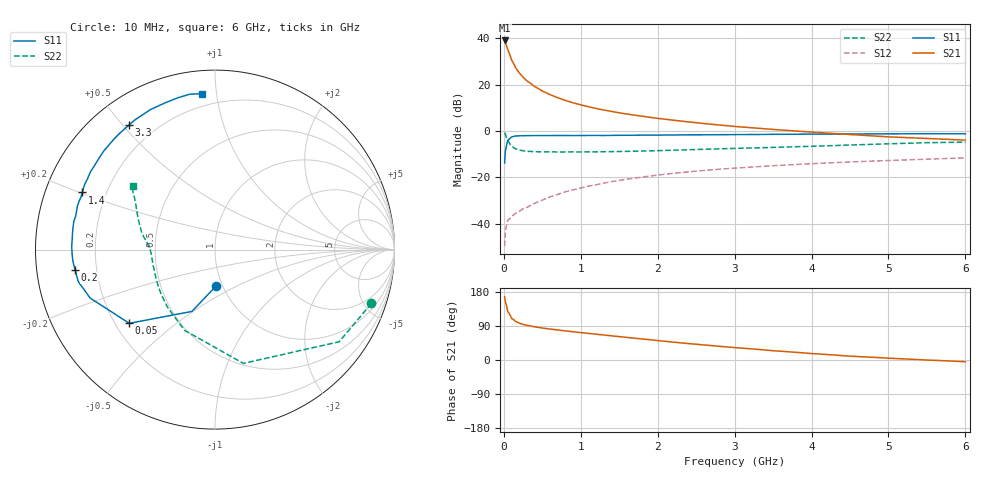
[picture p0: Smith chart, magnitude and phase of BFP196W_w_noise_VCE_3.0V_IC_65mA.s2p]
! (c) 2017  Infineon Technologies AG, Munich
! Infineon Technologies  Discrete & RF Semiconductors
! BFP196W
! VCE =  3.0 V,  IC =  65 mA
! Common Emitter S-Parameters:  Jan 2017
# GHz  S  MA  R  50
!  f  S11  S21  S12  S22
! GHz  MAG  ANG  MAG  ANG  MAG  ANG  MAG  ANG
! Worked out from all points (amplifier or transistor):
!   77 points, 10 MHz to 6 GHz, reference 50 ohm
!   highest |S21| = 39.0 dB at 10 MHz (marker M1)
!   |S21| within 3 dB of that: start of sweep to 41.31 MHz
!   unconditionally stable (mu >= 1): 572.6 MHz to 3.339 GHz
!   at 130 MHz: K = 0.52, MSG = 32.5 dB, |S12| = -36.1 dB
!   at 2.2 GHz: K = 1.03, MAG = 10.3 dB, |S12| = -18.2 dB
!   at 6 GHz: K = 0.96, MSG = 3.8 dB, |S12| = -11.6 dB
!   lowest NFmin = 1.51 dB at 450 MHz
!   S11 on the Smith chart (normalised r, x): 10 MHz: 0.93, -0.40; 50 MHz: 0.26, -0.35; 200 MHz: 0.12, -0.07; 1.4 GHz: 0.11, +0.20; 3.3 GHz: 0.11, +0.52; 6 GHz: 0.13, +0.91
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0.01  0.205 -88.9  89.59 166.5  0.0033 75.4  0.9216 -19.0
0.02  0.3678 -110.5  82.8 153.2  0.0068 69.3  0.8616 -36.6
0.05  0.6298 -139.3  57.51 127.8  0.0118 48.6  0.6533 -76.0
0.1  0.7463 -158.8  34.12 109.8  0.0143 43.6  0.4806 -110.7
0.15  0.7825 -166.9  23.64 102.1  0.0167 45.4  0.4162 -129.4
0.2  0.7876 -171.7  17.94 97.3  0.0185 48.0  0.3903 -140.1
0.25  0.794 -175.1  14.43 93.8  0.021 50.0  0.3753 -147.6
0.3  0.7961 -177.5  12.07 91.4  0.0225 54.0  0.3672 -152.7
0.4  0.7988 178.7  9.112 87.5  0.0277 58.4  0.3592 -159.6
0.5  0.7978 175.8  7.29 84.4  0.0325 60.7  0.3559 -164.0
0.6  0.7992 173.2  6.096 81.7  0.0382 62.4  0.3562 -167.3
0.7  0.8007 171.0  5.221 79.4  0.043 64.2  0.3538 -169.6
0.9  0.7984 166.6  4.057 74.5  0.0541 64.8  0.3549 -173.0
1.1  0.8041 162.5  3.344 70.2  0.0649 64.8  0.3557 -175.8
1.4  0.8054 156.7  2.649 63.8  0.081 63.9  0.36 -179.2
1.7  0.8122 151.2  2.197 57.5  0.0966 61.7  0.3677 177.7
2.1  0.8198 143.8  1.795 49.3  0.1173 58.1  0.3821 174.0
3.1  0.8391 127.7  1.22 31.2  0.1626 48.5  0.4263 165.2
3.3  0.8431 124.7  1.15 28.1  0.1706 46.7  0.4347 163.3
4.1  0.8591 113.6  0.926 15.8  0.2012 39.5  0.4747 155.6
5.1  0.8716 102.9  0.737 3.9  0.2346 31.3  0.5367 146.9
6  0.872 94.6  0.637 -4.6  0.264 24.2  0.5767 142.4
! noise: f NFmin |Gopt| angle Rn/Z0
0.45  1.51  0.53  -175  0.06
0.9  1.64  0.57  -170  0.07
1.9  2.49  0.7  -148  0.18
2.4  2.88  0.74  -144  0.28
